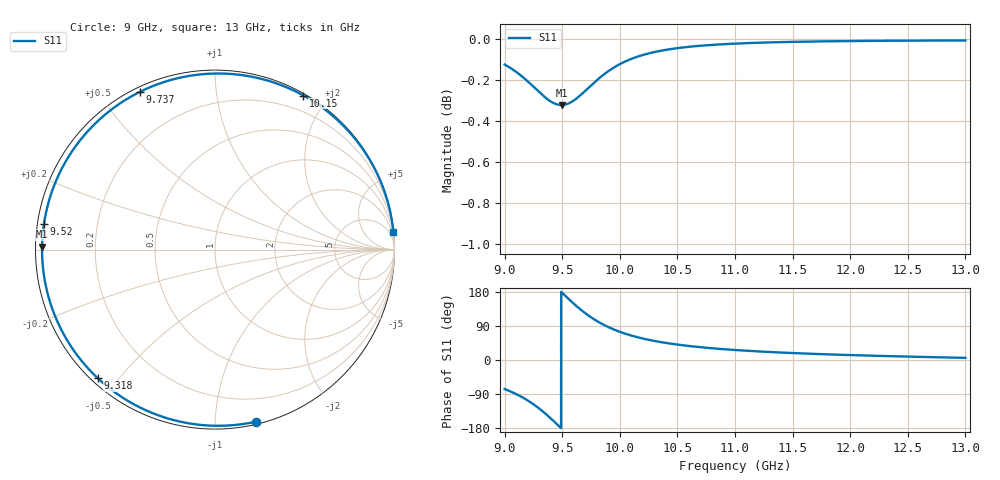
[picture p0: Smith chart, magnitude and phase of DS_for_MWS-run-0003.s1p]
! TOUCHSTONE file generated by CST DESIGN STUDIO
! Date and time: Tue Feb  4 18:14:29 2025
! Project name: C:\Work\MatlabApps\UnitCellOptimizationMatlab\CST\unitcell.cst
! Tree item: Tasks\Sweep1\SPara1\S-Parameters
! Header version: 2024
! Port assignment regex: !\s*Touchstone port\s*([0-9]+)\s*=\s*(CST MWS port|CST DES external port|CST DES block port)\s*(.+)\s* \(\"(.*)\"\)(\s*mode\s*([0-9]+))?.*
! Touchstone port assignment:
! Touchstone port 1 = CST DES external port 1 ("")
# GHz S MA R 50
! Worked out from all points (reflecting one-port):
!   4001 points, 9 GHz to 13 GHz, reference 50 ohm
!   lowest |S11| = -0.3 dB at 9.494 GHz (marker M1), VSWR 53.87, Z = 0.928 + j0.442 ohm
!   phase of S11 starts at -77 deg and turns -278 deg over the sweep
!   S11 on the Smith chart (normalised r, x): 9 GHz: 0.02, -1.26; 9.318 GHz: 0.02, -0.44; 9.52 GHz: 0.02, +0.08; 9.737 GHz: 0.02, +0.63; 10.15 GHz: 0.02, +1.73; 13 GHz: 0, +20
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9  0.9856 -76.7
9.082  0.9824 -87.2
9.182  0.9774 -103.3
9.253  0.9733 -117.4
9.318  0.9695 -132.4
9.365  0.967 -144.4
9.414  0.965 -157.9
9.455  0.9639 -169.6
9.494  0.9636 179.0
9.5  0.9636 177.2
9.52  0.9637 171.4
9.573  0.9649 156.2
9.633  0.9675 139.9
9.684  0.9703 127.3
9.737  0.9734 115.4
9.791  0.9765 104.7
9.85  0.9796 94.5
9.924  0.983 83.6
10  0.9858 74.4
10.153  0.99 60.1
10.31  0.9927 49.7
10.5  0.9947 40.7
10.722  0.9962 33.1
11  0.9972 26.4
11.5  0.9982 18.3
12  0.9987 13.0
12.5  0.9989 9.0
13  0.999 5.7
